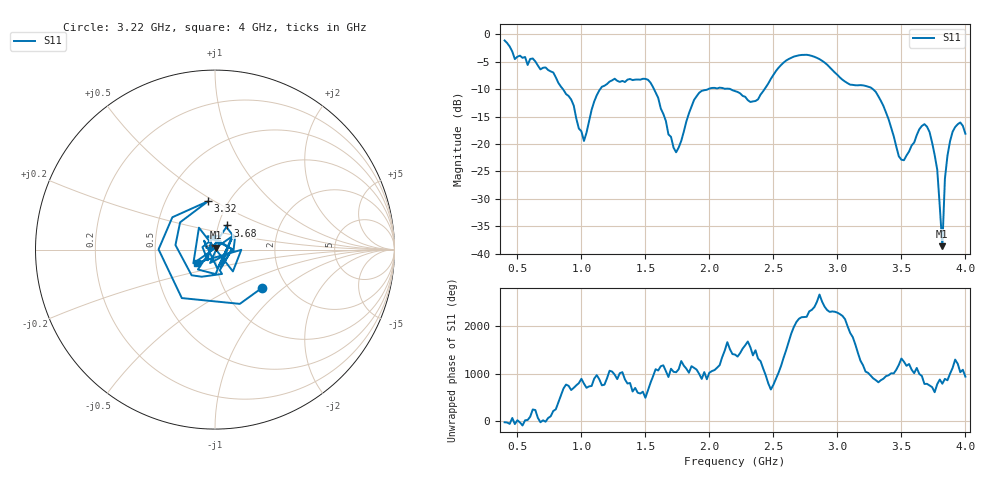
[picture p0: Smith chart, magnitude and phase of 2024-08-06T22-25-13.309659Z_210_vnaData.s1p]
!Created with skrf (http://scikit-rf.org).
# Hz S RI R 50.0
!freq ReS11 ImS11
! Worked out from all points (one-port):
!   181 points, 400 MHz to 4 GHz, reference 50 ohm
!   lowest |S11| = -38.6 dB at 3.82 GHz (marker M1), VSWR 1.02, Z = 50.4 + j1.1 ohm
!   |S11| at or under -10 dB: 855.7 MHz to 1.147 GHz (291.1 MHz wide, 29.1 % of centre); 1.567 GHz to 1.991 GHz (423.5 MHz wide, 23.8 % of centre); 3.277 GHz to end of sweep (the widest 3 of 4)
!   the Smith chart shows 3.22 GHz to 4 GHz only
!   S11 on the Smith chart (normalised r, x): 3.22 GHz: 1.51, -0.72; 3.32 GHz: 0.80, +0.47; 3.68 GHz: 1.11, +0.30; 4 GHz: 0.81, -0.12
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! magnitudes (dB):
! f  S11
! 400 MHz  -1.1
! 480 MHz  -4.5
! 620 MHz  -4.4
! 860 MHz  -10.1
! 1.02 GHz  -19.4
! 1.14 GHz  -10.2
! 1.3 GHz  -8.7
! 1.52 GHz  -8.3
! 1.72 GHz  -20.7
! 1.76 GHz  -20.6
! 1.92 GHz  -10.7
! 2.2 GHz  -10.4
! 2.36 GHz  -12.2
! 2.66 GHz  -4.1
! 2.86 GHz  -4.5
! 3.1 GHz  -9.2
! 3.22 GHz  -9.4
! 3.32 GHz  -11.3
! 3.48 GHz  -22.2
! 3.56 GHz  -21.4
! 3.68 GHz  -16.4
! 3.72 GHz  -17.8
! 3.78 GHz  -24.7
! 3.82 GHz  -38.6
! 3.84 GHz  -26.3
! 3.88 GHz  -19.5
! 3.96 GHz  -16.1
! 4 GHz  -18.1
